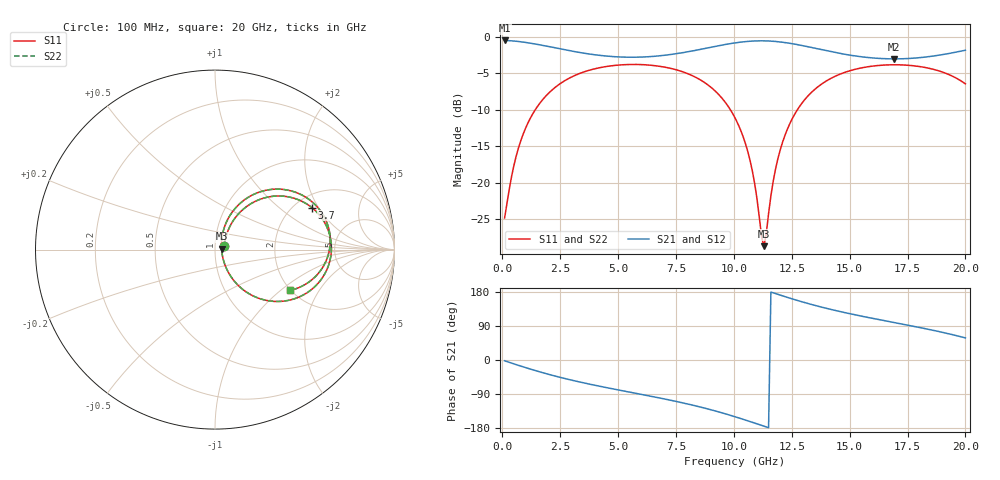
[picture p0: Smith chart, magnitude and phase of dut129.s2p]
! Touchstone file exported from HFSS 2026.1.0
!  File:  C:/ffzhzh/LocalFiles/Ansys_Project_Files/temp_train_TSV_RDL_129_1783049050_18316.aedt
!  Generated:  11:43:16 AM Jul  3, 2026
!  Design:  TSV_RDL
!  Project:  temp_train_TSV_RDL_129_1783049050_18316
! Variables:
!  h_bsmrdl = 5.66um
!  h_ox = 20um
!  h_rdl = 5um
!  h_sub = 95.78um
!  h_tmrdl = 2.05um
!  h_tsv = 95.78um
!  h_via = 3um
!  l_bsmrdl = 433.44um
!  l_sub = 4930.15um
!  l_tmrdl = 775.41um
!  m_sub = 200um
!  pitch = 55.62um
!  r_tsv = 2.34um
!  s_tmrdl = 10um
!  w_bsmrdl = 28.83um
!  w_sub = 500um
!  w_tmrdl = 13.9um
!  x_tsv_center1 = 782.36um
!  x_tsv_center2 = 1244.63um
!  x_tsv_center3 = 2033.94um
!  x_tsv_center4 = 2496.21um
!  x_tsv_center5 = 3285.52um
!  x_tsv_center6 = 3747.79um
# GHz S MA R 50.000000
! Terminal data exported
! Port[1] = TM_RDL1_1_T1
! Port[2] = TM_RDL5_1_T1
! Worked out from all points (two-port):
!   200 points, 100 MHz to 20 GHz, reference 50 ohm
!   highest |S21| = -0.46 dB at 100 MHz (marker M1); lowest = -3.0 dB at 16.9 GHz (marker M2)
!   |S21| within 3 dB of the highest: start of sweep to end of sweep
!   lowest |S11| = -28.7 dB at 11.3 GHz (marker M3), VSWR 1.08, Z = 53.8 + j0.495 ohm
!   |S11| at or under -10 dB: start of sweep to 1.421 GHz; 9.853 GHz to 12.74 GHz (2.889 GHz wide, 25.6 % of centre)
!   |S22| runs from -28.7 to -3.8 dB; largest |S21 - S12| = 1.6e-14
!   S11 on the Smith chart (normalised r, x): 100 MHz: 1.11, +0.05; 3.7 GHz: 2.46, +1.76; 20 GHz: 1.99, -1.17
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0.1  0.05729 23.5  0.948 -2.1  0.948 -2.1  0.05729 23.5
! Gamma 0 0 0 0
! Port Impedance 50 0 50 0
0.6  0.1523 57.2  0.9363 -12.2  0.9363 -12.2  0.1523 57.2
1.2  0.2751 55.0  0.909 -23.7  0.909 -23.7  0.2751 55.0
2.2  0.4404 42.4  0.8487 -41.1  0.8487 -41.1  0.4404 42.4
3.5  0.5747 25.8  0.7761 -60.2  0.7761 -60.2  0.5747 25.8
3.7  0.5885 23.4  0.7673 -62.8  0.7673 -62.8  0.5885 23.4
5.3  0.6467 5.3  0.728 -82.4  0.728 -82.4  0.6467 5.3
6.8  0.6299 -11.3  0.7437 -100.3  0.7437 -100.3  0.6299 -11.3
8.8  0.4796 -36.7  0.8381 -127.9  0.8381 -127.9  0.4796 -36.7
10.1  0.2689 -55.2  0.9146 -150.7  0.9146 -150.7  0.2689 -55.2
10.7  0.1422 -59.5  0.9368 -162.4  0.9368 -162.4  0.1422 -59.4
10.9  0.09858 -56.6  0.9407 -166.5  0.9407 -166.5  0.09864 -56.4
11.3  0.03667 7.2  0.9424 -174.6  0.9424 -174.6  0.03687 7.2
11.7  0.1024 64.9  0.9359 177.3  0.9359 177.3  0.1025 64.9
12.1  0.1888 67.0  0.9219 169.3  0.9219 169.3  0.1889 67.0
12.7  0.3088 60.4  0.8901 157.9  0.8901 157.9  0.3088 60.4
13.4  0.4241 50.5  0.8449 145.7  0.8449 145.7  0.4241 50.5
14.8  0.573 31.9  0.7615 124.9  0.7615 124.9  0.573 31.9
16.7  0.6448 10.3  0.7092 101.5  0.7092 101.5  0.6448 10.3
16.9  0.6456 8.1  0.7085 99.2  0.7085 99.2  0.6456 8.1
18.5  0.6071 -9.6  0.7368 79.8  0.7368 79.8  0.6071 -9.6
20  0.4775 -28.4  0.8121 58.3  0.8121 58.3  0.4776 -28.4
